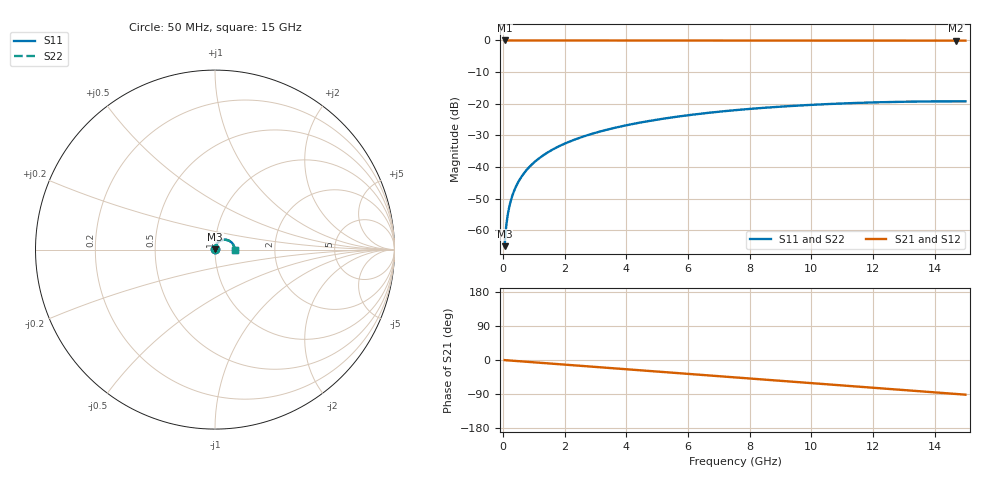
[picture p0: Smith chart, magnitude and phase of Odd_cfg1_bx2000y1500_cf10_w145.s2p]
! Sonnet Data File
! From: emgraph Version : 16.52
! From Emgraph Data: Waveguide
! Data File Written: 09/24/2017 10:41:16
!< HDATE 09/24/2017 10:06:26
!< MDATE 09/24/2017 10:06:26
# GHZ S MA R 50.00000
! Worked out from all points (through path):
!   300 points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, 50 MHz to 15 GHz, reference 50 ohm
!   highest |S21| = 0.00 dB at 50 MHz (marker M1); lowest = -0.1 dB at 14.7 GHz (marker M2)
!   group delay of S21, straight-line fit = 16.9 ps
!   lowest |S11| = -65.1 dB at 50 MHz (marker M3), VSWR 1.00, Z = 50 + j0.0558 ohm
!   |S11| at or under -10 dB: start of sweep to end of sweep
!   |S22| runs from -65.1 to -19.3 dB; largest |S21 - S12| = 0
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0.05  0.0005581 89.7  1 -0.3  1 -0.3  0.0005581 89.7
!< P1 F=0.05 Eeff=(6.42220865 -2.6752e-5) Z0=(55.7710818 1.31106e-4) R=0.0 C=0.0
!< P2 F=0.05 Eeff=(6.42220865 -2.6752e-5) Z0=(55.7710818 1.31106e-4) R=0.0 C=0.0
0.1  0.001146 89.3  1 -0.6  1 -0.6  0.001146 89.3
0.15  0.001734 89.0  1 -0.9  1 -0.9  0.001734 89.0
0.2  0.002322 88.7  1 -1.2  1 -1.2  0.002322 88.7
0.25  0.00291 88.4  1 -1.5  1 -1.5  0.00291 88.4
0.3  0.003498 88.1  1 -1.8  1 -1.8  0.003498 88.1
0.4  0.004674 87.5  1 -2.5  1 -2.5  0.004674 87.5
0.5  0.00585 86.9  1 -3.1  1 -3.1  0.00585 86.9
0.65  0.007613 86.0  1 -4.0  1 -4.0  0.007613 86.0
0.8  0.009374 85.0  0.9999 -4.9  0.9999 -4.9  0.009374 85.0
1  0.01172 83.8  0.9999 -6.1  0.9999 -6.1  0.01172 83.8
1.4  0.01639 81.4  0.9999 -8.6  0.9999 -8.6  0.01639 81.4
1.9  0.02219 78.4  0.9998 -11.7  0.9998 -11.7  0.02219 78.4
2.55  0.02963 74.4  0.9996 -15.6  0.9996 -15.6  0.02963 74.4
3.65  0.04181 67.6  0.9991 -22.4  0.9991 -22.4  0.04181 67.6
5.05  0.05643 59.1  0.9984 -30.9  0.9984 -30.9  0.05643 59.1
6.25  0.06797 51.8  0.9978 -38.3  0.9978 -38.3  0.06797 51.8
7.55  0.07917 43.8  0.9969 -46.2  0.9969 -46.2  0.07917 43.8
10.05  0.09609 28.6  0.9954 -61.4  0.9954 -61.4  0.09609 28.6
12.55  0.1063 13.4  0.9943 -76.6  0.9943 -76.6  0.1063 13.4
14.7  0.109 0.3  0.994 -89.7  0.994 -89.7  0.109 0.3
15  0.1089 -1.5  0.994 -91.5  0.994 -91.5  0.1089 -1.5
